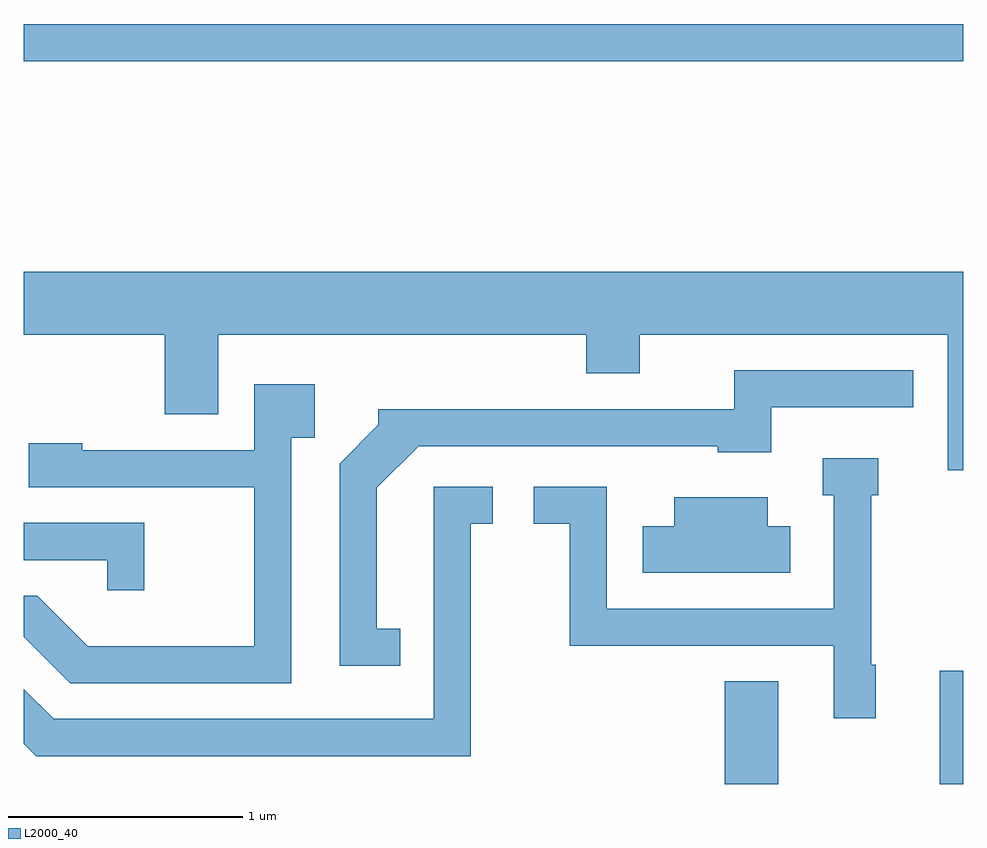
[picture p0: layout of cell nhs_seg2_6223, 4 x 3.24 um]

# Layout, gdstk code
import gdstk
lib = gdstk.Library(unit=1e-6, precision=1e-09)
def R(c, l, rs):  # rectangles x0, y0, x1, y1
    for r in rs: c.add(gdstk.rectangle(r[:2], r[2:], *l))
def P(c, l, *ps):  # polygons
    for p in ps: c.add(gdstk.Polygon(p, *l))
L2000_40 = (2000, 40)

nhs_seg2_6223 = lib.new_cell('nhs_seg2_6223')
R(nhs_seg2_6223, L2000_40, [(372.596,979.802,372.824,980.239), (373.511,979.802,373.611,980.284), (369.611,982.881,373.611,983.039)])
P(nhs_seg2_6223, L2000_40, [(373.611,981.984),(369.611,981.984),(369.611,981.716),(370.211,981.716),(370.211,981.376),(370.439,981.376),(370.439,981.716),(372.006,981.716),(372.006,981.551),(372.234,981.551),(372.234,981.716),(373.546,981.716),(373.546,981.138),(373.611,981.138)],
  [(371.213,980.464),(371.114,980.464),(371.114,981.064),(371.292,981.241),(372.566,981.241),(372.566,981.216),(372.794,981.216),(372.794,981.406),(373.398,981.406),(373.398,981.564),(372.636,981.564),(372.636,981.399),(371.121,981.399),(371.121,981.332),(370.956,981.167),(370.956,980.306),(371.213,980.306)],
  [(370.749,981.276),(370.849,981.276),(370.849,981.504),(370.591,981.504),(370.591,981.224),(369.859,981.224),(369.859,981.254),(369.631,981.254),(369.631,981.066),(370.591,981.066),(370.591,980.389),(369.882,980.389),(369.667,980.604),(369.611,980.604),(369.611,980.429),(369.809,980.231),(370.749,980.231)],
  [(373.239,980.309),(373.219,980.309),(373.219,981.031),(373.249,981.031),(373.249,981.189),(373.013,981.189),(373.013,981.031),(373.061,981.031),(373.061,980.549),(372.094,980.549),(372.094,981.069),(371.783,981.069),(371.783,980.911),(371.936,980.911),(371.936,980.391),(373.061,980.391),(373.061,980.081),(373.239,980.081)],
  [(371.514,980.911),(371.608,980.911),(371.608,981.069),(371.356,981.069),(371.356,980.079),(369.737,980.079),(369.611,980.205),(369.611,979.974),(369.664,979.921),(371.514,979.921)],
  [(372.874,980.899),(372.779,980.899),(372.779,981.024),(372.381,981.024),(372.381,980.899),(372.246,980.899),(372.246,980.701),(372.874,980.701)],
  [(370.124,980.914),(369.611,980.914),(369.611,980.756),(369.966,980.756),(369.966,980.628),(370.124,980.628)])

lib.write_gds('nhs_seg2_6223.gds')
